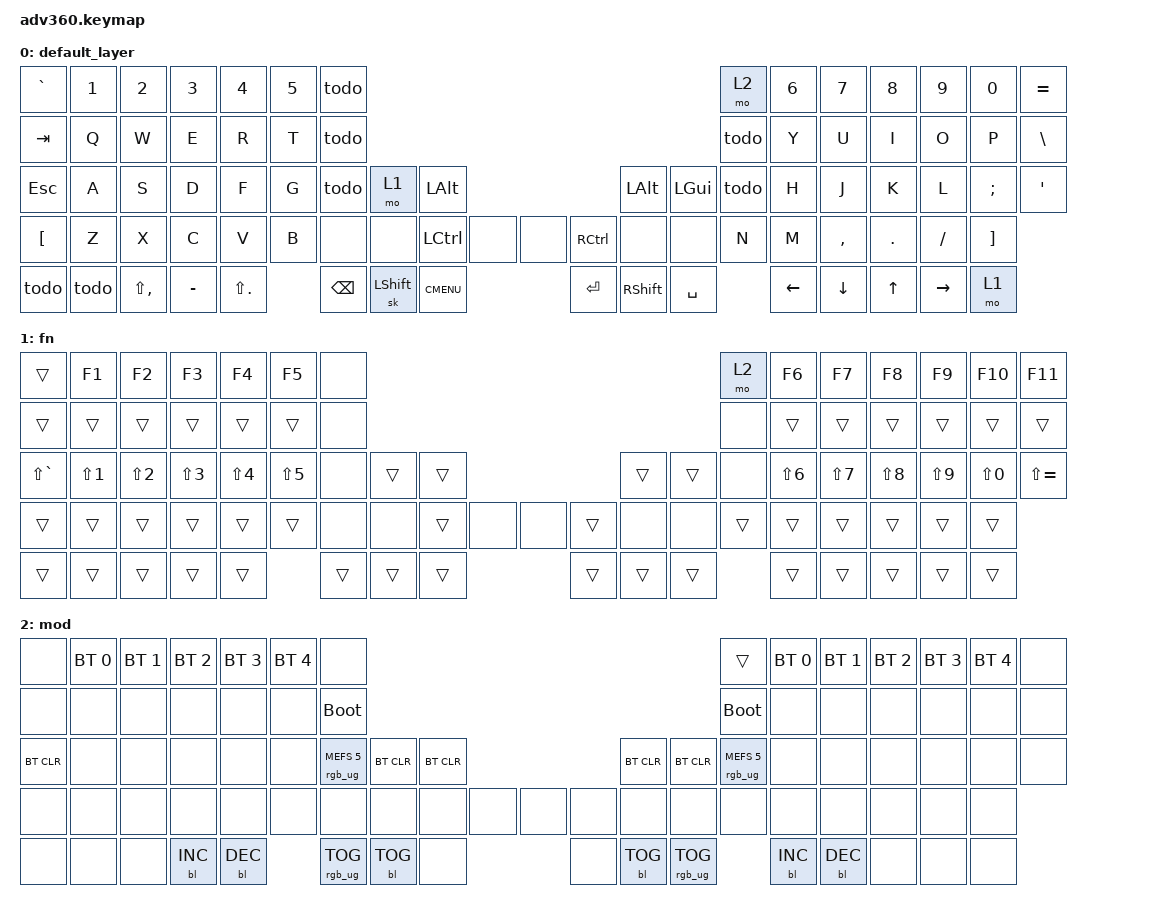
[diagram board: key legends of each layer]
#include <behaviors.dtsi>
#include <dt-bindings/zmk/keys.h>
#include <dt-bindings/zmk/bt.h>
#include <dt-bindings/zmk/rgb.h>
#include <dt-bindings/zmk/backlight.h>

#define todo none

/ {
  keymap {
    compatible = "zmk,keymap";

    default_layer {
      bindings = <
        &kp GRAVE &kp N1    &kp N2          &kp N3    &kp N4        &kp N5 &todo                                                                           &mo 2 &kp N6 &kp N7   &kp N8    &kp N9   &kp N0    &kp EQUAL
        &kp TAB   &kp Q     &kp W           &kp E     &kp R         &kp T  &todo                                                                           &todo &kp Y  &kp U    &kp I     &kp O    &kp P     &kp BSLH
        &kp ESC   &kp A     &kp S           &kp D     &kp F         &kp G  &todo           &mo 1     &kp LALT                &kp LALT  &kp LGUI            &todo &kp H  &kp J    &kp K     &kp L    &kp SEMI  &kp SQT
        &kp LBKT  &kp Z     &kp X           &kp C     &kp V         &kp B         &none    &none     &kp LCTRL   &none &none &kp RCTRL &none     &none           &kp N  &kp M    &kp COMMA &kp DOT  &kp FSLH  &kp RBKT
        &todo     &todo     &kp LS(COMMA)   &kp MINUS &kp LS(DOT)                 &kp BSPC &sk LSHFT &kp K_CMENU             &kp ENTER &kp RSHFT &kp SPACE              &kp LEFT &kp DOWN  &kp UP   &kp RIGHT &mo 1
      >;
    };
    fn {
      bindings = <
        &trans        &kp F1     &kp F2     &kp F3     &kp F4     &kp F5     &none                                                        &mo 2 &kp F6     &kp F7     &kp F8     &kp F9     &kp F10    &kp F11
        &trans        &trans     &trans     &trans     &trans     &trans     &none                                                        &none &trans     &trans     &trans     &trans     &trans     &trans
        &kp LS(GRAVE) &kp LS(N1) &kp LS(N2) &kp LS(N3) &kp LS(N4) &kp LS(N5) &none         &trans &trans             &trans &trans        &none &kp LS(N6) &kp LS(N7) &kp LS(N8) &kp LS(N9) &kp LS(N0) &kp LS(EQUAL)
        &trans        &trans     &trans     &trans     &trans     &trans            &none  &none  &trans &none &none &trans &none  &none        &trans     &trans     &trans     &trans     &trans     &trans
        &trans        &trans     &trans     &trans     &trans                       &trans &trans &trans             &trans &trans &trans                  &trans     &trans     &trans     &trans     &trans
      >;
    };
    mod {
      bindings = <
        &none &bt BT_SEL 0 &bt BT_SEL 1 &bt BT_SEL 2 &bt BT_SEL 3 &bt BT_SEL 4 &none                                                                                                          &trans                 &bt BT_SEL 0 &bt BT_SEL 1 &bt BT_SEL 2 &bt BT_SEL 3 &bt BT_SEL 4 &none
        &none &none        &none        &none        &none        &none        &bootloader                                                                                                    &bootloader            &none        &none        &none        &none        &none        &none
        &bt BT_CLR &none   &none        &none        &none        &none        &rgb_ug RGB_MEFS_CMD 5                 &bt BT_CLR &bt BT_CLR             &bt BT_CLR &bt BT_CLR                 &rgb_ug RGB_MEFS_CMD 5 &none        &none        &none        &none        &none        &none
        &none &none        &none        &none        &none        &none                               &none           &none      &none      &none &none &none      &none      &none                                  &none        &none        &none        &none        &none        &none
        &none &none        &none        &bl BL_INC   &bl BL_DEC                                       &rgb_ug RGB_TOG &bl BL_TOG &none                  &none      &bl BL_TOG &rgb_ug RGB_TOG                                     &bl BL_INC   &bl BL_DEC   &none        &none        &none
      >;
    };
  };
};
